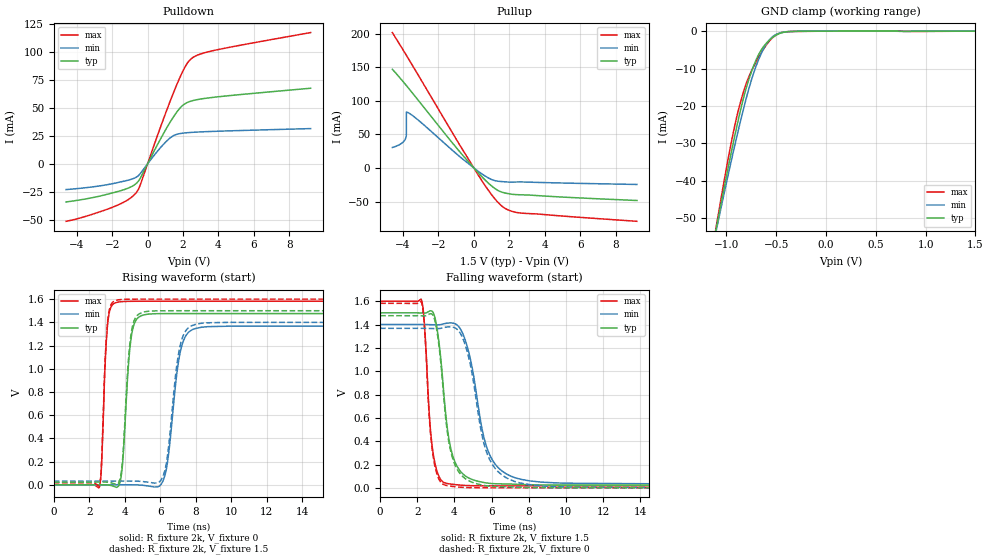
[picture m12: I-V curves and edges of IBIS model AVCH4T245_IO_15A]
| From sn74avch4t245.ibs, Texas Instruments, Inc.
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[Model]   AVCH4T245_IO_15A
Model_type  I/O
Vinl=0.49
Vinh=1.04
Enable   Active-Low
Vref =   0
Rref =   2000
Cref =   15p
Vmeas =   0.75
| variable   typ   min   max
C_comp   5.33pF   4.65pF   5.91pF
| C_pullup   5.25pF   3.74pF   7.67pF
| C_pulldown   4.94pF   4.36pF   5.59pF
| C_tri-state   5.33pF   4.65pF   5.91pF
[Temperature Range]   40   100   -40
| Ambient temperature   25   85   -40
[Voltage range]   1.5   1.4   1.6
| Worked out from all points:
|   slope of the pulldown table from 0 to 0.225 V, typ, clamps not added: 32.1 ohm
|   slope of the pullup table from 0 to 0.225 V, typ, clamps not added: 33.9 ohm
|   GND clamp passes 1 mA (typ) near -0.50 V on its own axis
|   rising waveform, R_fixture 2k, V_fixture 0: 20-80 % time 362ps typ, 591ps min, 241ps max; typ from 0 V to 1.48 V
|   falling waveform, R_fixture 2k, V_fixture 1.5: 20-80 % time 635ps typ, 1.01ns min, 388ps max; typ from 1.5 V to 0.023 V
|   rising waveform, R_fixture 2k, V_fixture 1.5: 20-80 % time 358ps typ, 578ps min, 240ps max; typ from 0.023 V to 1.5 V
|   falling waveform, R_fixture 2k, V_fixture 0: 20-80 % time 636ps typ, 1.01ns min, 381ps max; typ from 1.48 V to 0 V
[GND Clamp]
| AVCH4T245_IO_15A
|   Voltage   I(typ)   I(min)   I(max)
-4.6V     -602.3mA   -551mA     -667.3mA
-1.1V     -52.62mA   -53.11mA   -52.03mA
-1.075V   -49.14mA   -49.96mA   -48.12mA
-930mV    -29.82mA   -32.27mA   -27.08mA
-880mV    -23.71mA   -26.51mA   -21.24mA
-830mV    -18.16mA   -21.04mA   -16.43mA
-765mV    -12.18mA   -14.58mA   -11.64mA
-685mV    -6.751mA   -8.201mA   -7.41mA
-605mV    -3.435mA   -3.749mA   -3.946mA
-535mV    -1.679mA   -1.479mA   -1.741mA
-370mV    -121.9uA   -99.57uA   -128.4uA
1.5V      818.2pA    1.554uA    -44.11nA
[Pulldown]
| AVCH4T245_IO_15A
|   Voltage   I(typ)   I(min)   I(max)
-4.6V     -34.07mA   -23.01mA   -51.35mA
-1.88V    -25.6mA    -17.43mA   -38.2mA
-1.09V    -21.68mA   -14.59mA   -31.97mA
-625mV    -17.31mA   -11.83mA   -25.44mA
-415mV    -12.94mA   -8.777mA   -18.95mA
595mV     18.22mA    11.97mA    26.91mA
1.265V    37.01mA    23.01mA    55.56mA
1.695V    47.18mA    26.54mA    72.43mA
2.025V    52.71mA    27.44mA    83.88mA
2.495V    56.22mA    28.09mA    94.25mA
3.835V    59.62mA    29.04mA    101.6mA
9.2V      67.51mA    31.46mA    117.2mA
[Pullup]
| AVCH4T245_IO_15A
|   Voltage   I(typ)   I(min)   I(max)
-4.6V     146.8mA    30.47mA    201.5mA
-4.1V     131.8mA    36.24mA    180.2mA
-3.85V    123.9mA    43.97mA    169.4mA
-3.81V    122.6mA    49.37mA    167.6mA
-3.805V   122.5mA    83.3mA     167.4mA
-3.785V   121.8mA    83.17mA    166.5mA
-3.155V   101.3mA    71.56mA    138.9mA
175mV     -5.197mA   -3.574mA   -7.497mA
980mV     -26.35mA   -16.94mA   -39.04mA
1.625V    -36.35mA   -20.39mA   -57.65mA
2.6V      -39.9mA    -20.78mA   -66.92mA
9.2V      -48.41mA   -24.54mA   -79.36mA
[Ramp]
| AVCH4T245_IO_15A
| variable   typ   min   max
dV/dt_r   0.90/3.77E-10   0.83/6.00E-10   0.96/2.57E-10
dV/dt_f   0.90/6.42E-10   0.83/1.02E-09   0.96/3.95E-10
R_load = 2k
[Rising Waveform]
| AVCH4T245_IO_15A
R_fixture =   2k
C_fixture =   0
L_fixture =   0
V_fixture =   0
V_fixture_min = 0
V_fixture_max = 0
|   Time   V(typ)   V(min)   V(max)
0s        19.41nV    97.7nV     527.2pV
2.575ns   901.8uV    -139uV     -16.22mV
3.02ns    -179.3uV   133.3uV    1.363V
3.55ns    -22.01mV   699.4uV    1.572V
4.38ns    1.287V     544.6uV    1.581V
5.065ns   1.464V     -4.309mV   1.582V
6.22ns    1.475V     60.1mV     1.582V
7.13ns    1.476V     1.144V     1.582V
8.03ns    1.476V     1.349V     1.582V
40ns      1.476V     1.367V     1.582V
[Falling Waveform]
| AVCH4T245_IO_15A
R_fixture =   2k
C_fixture =   0
L_fixture =   0
V_fixture =   1.5
V_fixture_min = 1.4
V_fixture_max = 1.6
|   Time   V(typ)   V(min)   V(max)
0s        1.5V       1.4V       1.6V
2.225ns   1.499V     1.4V       1.612V
2.375ns   1.498V     1.4V       1.429V
2.82ns    1.511V     1.398V     337.5mV
3.155ns   1.266V     1.398V     102.8mV
3.585ns   555.5mV    1.411V     37.99mV
4.6ns     100.9mV    1.259V     20.72mV
5.915ns   38.37mV    277.9mV    17.27mV
7.545ns   29.61mV    74.44mV    17.12mV
40ns      23.4mV     32.34mV    17.1mV
[Rising Waveform]
| AVCH4T245_IO_15A
R_fixture =   2k
C_fixture =   0
L_fixture =   0
V_fixture =   1.5
V_fixture_min = 1.4
V_fixture_max = 1.6
|   Time   V(typ)   V(min)   V(max)
0s        23.4mV     32.34mV    17.1mV
2.575ns   24.29mV    32.22mV    1.527mV
3.01ns    23.26mV    32.49mV    1.372V
3.515ns   3.419mV    32.98mV    1.59V
4.37ns    1.313V     32.71mV    1.599V
5.03ns    1.488V     28.41mV    1.6V
6.195ns   1.5V       90.03mV    1.6V
7.1ns     1.5V       1.183V     1.6V
8ns       1.5V       1.383V     1.6V
40ns      1.5V       1.4V       1.6V
[Falling Waveform]
| AVCH4T245_IO_15A
R_fixture =   2k
C_fixture =   0
L_fixture =   0
V_fixture =   0
V_fixture_min = 0
V_fixture_max = 0
|   Time   V(typ)   V(min)   V(max)
0s        1.476V     1.367V     1.582V
2.225ns   1.474V     1.367V     1.593V
2.815ns   1.486V     1.365V     317.1mV
3.145ns   1.249V     1.365V     81.7mV
3.555ns   563.8mV    1.377V     20.99mV
3.94ns    236.5mV    1.377V     11.63mV
4.58ns    80.04mV    1.227V     3.265mV
5.89ns    14.58mV    245.6mV    155.6uV
7.54ns    5.724mV    41.85mV    17.11uV
40ns      342.9nV    552.4nV    221.4nV
